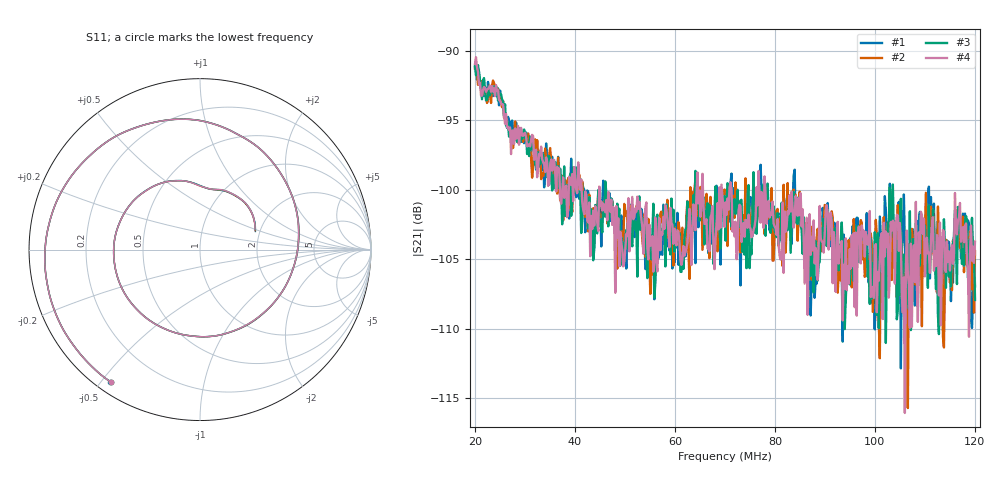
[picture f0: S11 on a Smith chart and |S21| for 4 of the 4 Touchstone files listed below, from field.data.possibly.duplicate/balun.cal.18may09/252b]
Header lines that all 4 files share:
! Anritsu VNA Master:  Model: MS2036C/10/77
! SN:  1601066
! Existing Calibration Information:
! TYPE:  Current Settings,  Active Cal Settings
! # POINTS:  500,  500
! START FREQ:  20.000 MHz,  20.000 MHz
! STOP FREQ:  120.000 MHz,  120.000 MHz
! SOURCE POWER:  High,  High
! IFBW:  50 Hz,  50 Hz
! AVG FACTOR:  1 ,  1
! REF PLANE 1:  0 mm,  0 mm
! REF PLANE 2:  0 mm,  0 mm
! CAL TYPE:  Full S11,  Full S11
! CAL METHOD:  SOLT,  SOLT
! CAL LINE TYPE:  Coax,  Coax
! DUT PORT 1:  K-Conn(F),  K-Conn(F)
! DUT PORT 2:  K-Conn(F),  K-Conn(F)
! CAL STATUS:  OK: Accuracy High,  --
# GHZ S DB R 50.0
! FREQ.GHZ  S11DB  S11A  S21DB  S21A  S12DB  S12A  S22DB  S22A
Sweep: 20 MHz to 120 MHz
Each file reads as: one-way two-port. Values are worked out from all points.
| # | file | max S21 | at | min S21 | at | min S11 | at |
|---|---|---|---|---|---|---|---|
| 1 | a.2b.m3.s2p | -91.13 dB | 20 MHz | -112.9 dB | 105.2 MHz | -9.3 dB | 120 MHz |
| 2 | a.2b.m4.s2p | -90.97 dB | 20.2 MHz | -115.7 dB | 106.6 MHz | -9.3 dB | 120 MHz |
| 3 | a.2b.m7.s2p | -91.02 dB | 20.6 MHz | -111.0 dB | 102.2 MHz | -9.3 dB | 120 MHz |
| 4 | a.2b.m8.s2p | -90.45 dB | 20.2 MHz | -116.1 dB | 106 MHz | -9.3 dB | 120 MHz |
